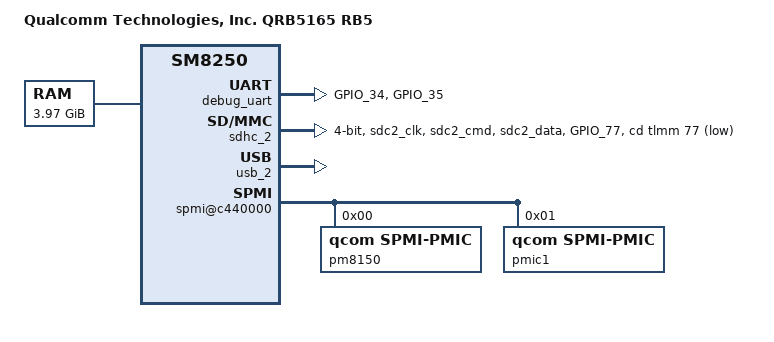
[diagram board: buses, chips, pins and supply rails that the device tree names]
// SPDX-License-Identifier: GPL-2.0+
/*
 * Qualcomm QRB5165-RB5 evaluation board device tree source
 *
 * (C) Copyright 2023 Bhupesh Sharma <bhupesh.sharma@linaro.org>
 */

/dts-v1/;

#include "skeleton64.dtsi"
#include <dt-bindings/gpio/gpio.h>
#include <dt-bindings/clock/qcom,gcc-sm8250.h>

/ {
	model = "Qualcomm Technologies, Inc. QRB5165 RB5";
	compatible = "qcom,qrb5165-rb5", "qcom,sm8250";
	#address-cells = <2>;
	#size-cells = <2>;

	chosen {
		stdout-path = "serial0:115200n8";
	};

	aliases {
		serial0 = &debug_uart;
	};

	memory {
		device_type = "memory";
		reg = <0x0 0x80000000 0x0 0xfdfa0000>;
	};

	psci {
		compatible = "arm,psci-1.0";
		method = "smc";
	};

	soc {
		#address-cells = <1>;
		#size-cells = <1>;
		ranges = <0 0 0 0xffffffff>;
		compatible = "simple-bus";

		tlmm: pinctrl_west@f100000 {
			compatible = "qcom,sm8250-pinctrl";
			reg = <0x0f100000 0x300000>,
			      <0x0f500000 0x300000>,
			      <0x0f900000 0x300000>;
			reg-names = "west", "south", "north";
			gpio-count = <181>;
			gpio-controller;
			#gpio-cells = <2>;
			gpio-ranges = <&tlmm 0 0 181>;

			/* DEBUG UART */
			debug_uart_on: debug-uart-default {
				pins = "GPIO_34", "GPIO_35";
				function = "qup12";
			};

			sdc2_default_state: sdc2-default-state {
				clk-pins {
					pins = "sdc2_clk";
					bias-disable;
					drive-strength = <16>;
				};

				cmd-pins {
					pins = "sdc2_cmd";
					bias-pull-up;
					drive-strength = <10>;
				};

				data-pins {
					pins = "sdc2_data";
					bias-pull-up;
					drive-strength = <10>;
				};
			};

			sdc2_card_det_n: sd-card-det-n-state {
				pins = "GPIO_77";
				function = "gpio";
			};
		};

		gcc: clock-controller@100000 {
			compatible = "qcom,gcc-sm8250";
			reg = <0x00100000 0x1f0000>;
			#clock-cells = <1>;
			#reset-cells = <1>;
			#power-domain-cells = <1>;
		};

		reset: gcc-reset@100000 {
			compatible = "qcom,gcc-reset-sm8250";
			reg = <0x00100000 0x1f0000>;
			#reset-cells = <1>;
		};

		debug_uart: serial@a90000 {
			compatible = "qcom,msm-geni-uart-v3-n-above";
			reg = <0x00a90000 0x4000>;
			clock-names = "se-clk";
			clocks = <&gcc GCC_QUPV3_WRAP1_S4_CLK>;
			pinctrl-names = "default";
			pinctrl-0 = <&debug_uart_on>;
		};

		sdhc_2: mmc@8804000 {
			compatible = "qcom,sm8250-sdhci", "qcom,sdhci-msm-v5";
			reg = <0x08804000 0x1000>;

			clocks = <&gcc GCC_SDCC2_AHB_CLK>,
				 <&gcc GCC_SDCC2_APPS_CLK>;
			clock-names = "iface", "core";

			resets = <&reset GCC_SDCC2_BCR>;

			cd-gpios = <&tlmm 77 GPIO_ACTIVE_LOW>; /* card detect gpio */
			//vmmc-supply = <&vreg_l9c_2p96>;
			//vqmmc-supply = <&vreg_l6c_2p96>;

			bus-width = <4>;
			no-sdio;
			no-mmc;

			pinctrl-names = "default";
			pinctrl-0 = <&sdc2_default_state &sdc2_card_det_n>;
		};

		usb_2_hsphy: phy@88e4000 {
			compatible = "qcom,sm8250-usb-hs-phy",
				     "qcom,usb-snps-hs-7nm-phy";
			reg = <0x088e4000 0x400>;
			#phy-cells = <0>;

			resets = <&reset GCC_QUSB2PHY_SEC_BCR>;
			reset-names = "phy";
		};

		usb_2_qmpphy: phy@88eb000 {
			compatible = "qcom,sm8250-qmp-usb3-uni-phy";
			reg = <0x088eb000 0x200>;
			#address-cells = <1>;
			#size-cells = <1>;
			ranges;

			clocks = <&gcc GCC_USB3_SEC_PHY_AUX_CLK>,
				 <&gcc GCC_USB3_SEC_CLKREF_EN>,
				 <&gcc GCC_USB3_SEC_PHY_COM_AUX_CLK>;
				 //<&gcc GCC_USB3_SEC_PHY_PIPE_CLK>;
			clock-names = "aux", "ref", "com_aux";

			resets = <&reset GCC_USB3PHY_PHY_SEC_BCR>,
				 <&reset GCC_USB3_PHY_SEC_BCR>;
			reset-names = "phy", "common";

			//#clock-cells = <0>;
			//clock-names = "pipe0";
			//clock-output-names = "usb3_uni_phy_pipe_clk_src";

			#phy-cells = <0>;
		};

		usb_2: usb@a8f8800 {
			compatible = "qcom,sm8250-dwc3", "qcom,dwc3";
			reg = <0x0a8f8800 0x400>;
			#address-cells = <1>;
			#size-cells = <1>;
			ranges;

			clocks = <&gcc GCC_CFG_NOC_USB3_SEC_AXI_CLK>,
				 <&gcc GCC_USB30_SEC_MASTER_CLK>,
				 <&gcc GCC_AGGRE_USB3_SEC_AXI_CLK>,
				 <&gcc GCC_USB30_SEC_SLEEP_CLK>,
				 <&gcc GCC_USB30_SEC_MOCK_UTMI_CLK>,
				 <&gcc GCC_USB3_SEC_CLKREF_EN>;
			clock-names = "cfg_noc",
				      "core",
				      "iface",
				      "sleep",
				      "mock_utmi",
				      "xo";

			assigned-clocks = <&gcc GCC_USB30_SEC_MOCK_UTMI_CLK>,
					  <&gcc GCC_USB30_SEC_MASTER_CLK>;
			assigned-clock-rates = <19200000>, <200000000>;

			power-domains = <&gcc USB30_SEC_GDSC>;

			resets = <&reset GCC_USB30_SEC_BCR>;

			usb_2_dwc3: usb@a800000 {
				compatible = "snps,dwc3";
				reg = <0x0a800000 0xcd00>;
				snps,dis_u2_susphy_quirk;
				snps,dis_enblslpm_quirk;
				phys = <&usb_2_hsphy>, <&usb_2_qmpphy>;
				phy-names = "usb2-phy", "usb3-phy";
				maximum-speed = "super-speed";
				dr_mode = "host";
			};
		};

		spmi@c440000 {
			compatible = "qcom,spmi-pmic-arb";
			reg = <0xc40a000 0x26000>,
			      <0xc440000 0x1100>,
			      <0x0e60000 0x100000>;
			reg-names = "cnfg", "core", "obsrvr";
			#address-cells = <1>;
			#size-cells = <0>;

			pm8150: pm8150@0 {
				compatible = "qcom,spmi-pmic";
				reg = <0x0 0x1>;
				#address-cells = <1>;
				#size-cells = <0>;

				pm8150_pon: pm8150_pon@800 {
					compatible = "qcom,pm8941-pwrkey";
					reg = <0x800 0x100>;
					#gpio-cells = <2>;
					gpio-controller;
					gpio-bank-name = "pm8941_key.";
				};

				pm8150_gpios: pm8150_gpios@c000 {
					compatible = "qcom,pm8941-gpio";
					reg = <0xc000>;
					gpio-controller;
					gpio-count = <10>;
					#gpio-cells = <2>;
					gpio-bank-name="pmic";
				};
			};

			pmic1: pm8150@1 {
				compatible = "qcom,spmi-pmic";
				reg = <0x1 0x0>;
				#address-cells = <0x2>;
				#size-cells = <0x0>;
			};
		};
	};
};

#include "qrb5165-rb5-uboot.dtsi"
